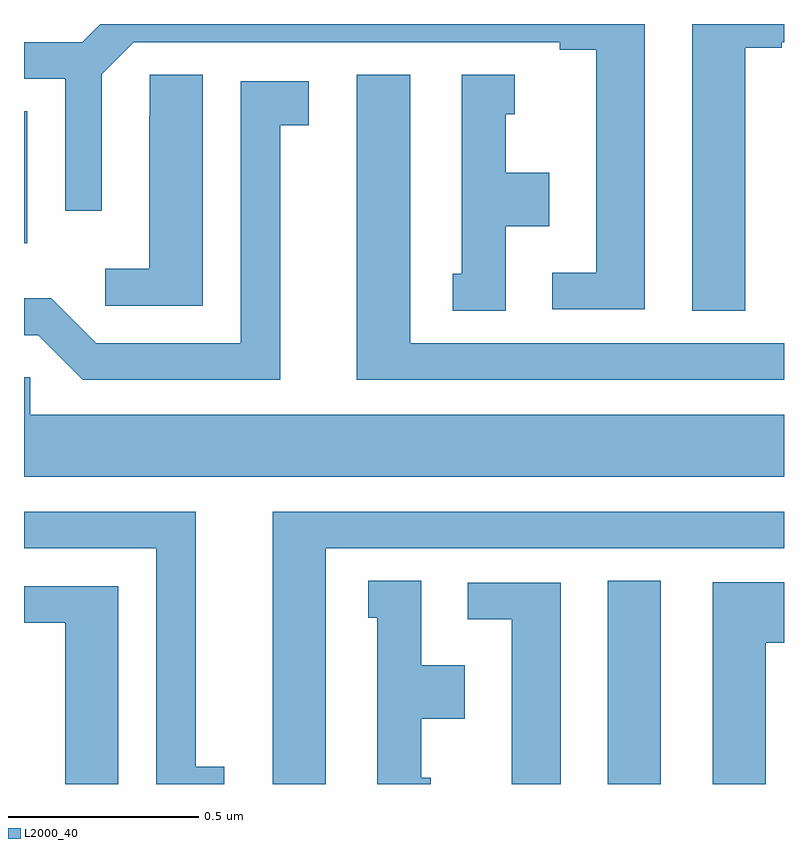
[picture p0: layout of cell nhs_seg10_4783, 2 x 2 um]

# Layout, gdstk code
import gdstk
lib = gdstk.Library(unit=1e-6, precision=1e-09)
def R(c, l, rs):  # rectangles x0, y0, x1, y1
    for r in rs: c.add(gdstk.rectangle(r[:2], r[2:], *l))
def P(c, l, *ps):  # polygons
    for p in ps: c.add(gdstk.Polygon(p, *l))
L2000_40 = (2000, 40)

nhs_seg10_4783 = lib.new_cell('nhs_seg10_4783')
R(nhs_seg10_4783, L2000_40, [(171.536,1307.5,171.676,1308.035), (170,1308.923,170.008,1309.271)])
P(nhs_seg10_4783, L2000_40, [(171.634,1309.5),(170.201,1309.5),(170.153,1309.452),(170,1309.452),(170,1309.356),(170.109,1309.356),(170.109,1309.008),(170.205,1309.008),(170.205,1309.368),(170.289,1309.452),(171.41,1309.452),(171.41,1309.432),(171.506,1309.432),(171.506,1308.846),(171.39,1308.846),(171.39,1308.75),(171.634,1308.75)],
  [(171.898,1309.437),(171.994,1309.437),(171.994,1309.452),(172,1309.452),(172,1309.5),(171.758,1309.5),(171.758,1308.745),(171.898,1308.745)],
  [(170.47,1309.367),(170.331,1309.367),(170.331,1309.259),(170.33,1309.259),(170.33,1308.856),(170.214,1308.856),(170.214,1308.759),(170.47,1308.759)],
  [(171.268,1308.968),(171.382,1308.968),(171.382,1309.108),(171.268,1309.108),(171.268,1309.263),(171.292,1309.263),(171.292,1309.366),(171.152,1309.366),(171.152,1308.843),(171.128,1308.843),(171.128,1308.745),(171.268,1308.745)],
  [(172,1308.66),(171.016,1308.66),(171.016,1309.366),(170.876,1309.366),(170.876,1308.564),(172,1308.564)],
  [(170.674,1309.234),(170.749,1309.234),(170.749,1309.35),(170.57,1309.35),(170.57,1308.66),(170.19,1308.66),(170.072,1308.778),(170,1308.778),(170,1308.681),(170.037,1308.681),(170.154,1308.564),(170.674,1308.564)],
  [(172,1308.472),(170.016,1308.472),(170.016,1308.57),(170,1308.57),(170,1308.308),(172,1308.308)],
  [(170.794,1308.12),(172,1308.12),(172,1308.216),(170.654,1308.216),(170.654,1307.5),(170.794,1307.5)],
  [(170.527,1307.546),(170.452,1307.546),(170.452,1308.216),(170,1308.216),(170,1308.12),(170.348,1308.12),(170.348,1307.5),(170.527,1307.5)],
  [(171.07,1307.517),(171.046,1307.517),(171.046,1307.672),(171.16,1307.672),(171.16,1307.812),(171.046,1307.812),(171.046,1308.035),(170.906,1308.035),(170.906,1307.937),(170.93,1307.937),(170.93,1307.5),(171.07,1307.5)],
  [(171.952,1307.872),(172,1307.872),(172,1308.031),(171.812,1308.031),(171.812,1307.521),(171.813,1307.521),(171.813,1307.5),(171.952,1307.5)],
  [(171.412,1308.03),(171.168,1308.03),(171.168,1307.934),(171.284,1307.934),(171.284,1307.5),(171.412,1307.5)],
  [(170.248,1308.021),(170,1308.021),(170,1307.924),(170.108,1307.924),(170.108,1307.521),(170.109,1307.521),(170.109,1307.5),(170.248,1307.5)])

lib.write_gds('nhs_seg10_4783.gds')
